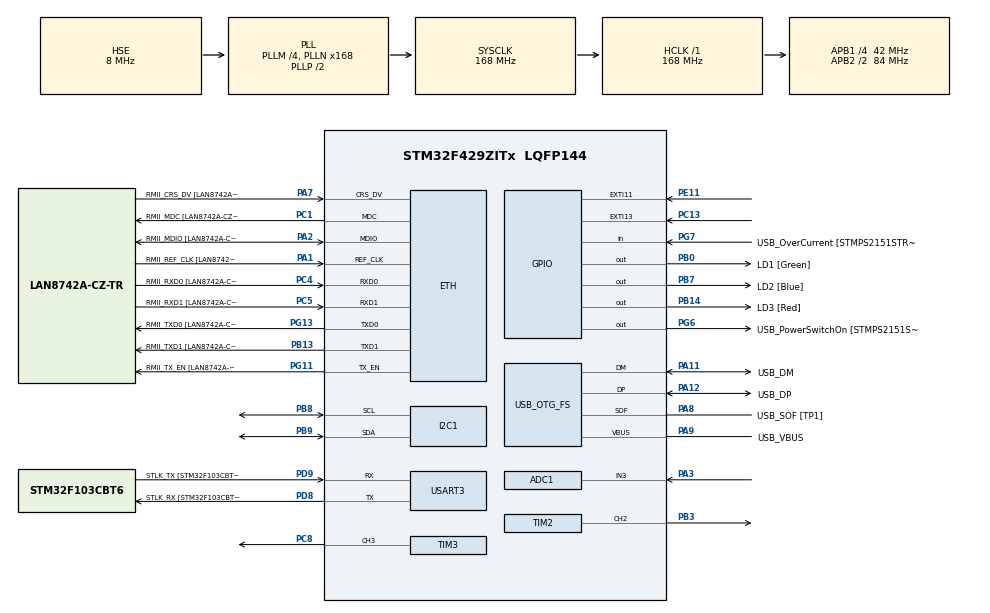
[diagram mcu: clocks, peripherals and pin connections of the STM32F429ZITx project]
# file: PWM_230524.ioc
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ADC1.Channel-0\#ChannelRegularConversion=ADC_CHANNEL_3
ADC1.NbrOfConversionFlag=1
ADC1.Rank-0\#ChannelRegularConversion=1
ADC1.SamplingTime-0\#ChannelRegularConversion=ADC_SAMPLETIME_3CYCLES
ADC1.master=1
ETH.MediaInterface=HAL_ETH_RMII_MODE
ETH.PHY_Name=LAN8742A_PHY_ADDRESS
ETH.PHY_Value=0
ETH.PhyAddress=0
Mcu.Family=STM32F4
Mcu.Name=STM32F429ZITx
Mcu.Package=LQFP144
NVIC.EXTI15_10_IRQn=true\:0\:0\:false\:true\:true\:1\:true\:true\:true
NVIC.PriorityGroup=NVIC_PRIORITYGROUP_4
PA1.GPIO_Label=RMII_REF_CLK [LAN8742A-CZ-TR_REFCLK0]
PA1.Mode=RMII
PA1.Signal=ETH_REF_CLK
PA10.GPIO_Label=USB_ID
PA10.Signal=USB_OTG_FS_ID
PA11.GPIO_Label=USB_DM
PA11.Mode=Device_Only
PA11.Signal=USB_OTG_FS_DM
PA12.GPIO_Label=USB_DP
PA12.Mode=Device_Only
PA12.Signal=USB_OTG_FS_DP
PA13.GPIO_Label=TMS
PA13.Mode=Serial_Wire
PA13.Signal=SYS_JTMS-SWDIO
PA14.GPIO_Label=TCK
PA14.Mode=Serial_Wire
PA14.Signal=SYS_JTCK-SWCLK
PA2.GPIO_Label=RMII_MDIO [LAN8742A-CZ-TR_MDIO]
PA2.Mode=RMII
PA2.Signal=ETH_MDIO
PA3.Signal=ADCx_IN3
PA7.GPIO_Label=RMII_CRS_DV [LAN8742A-CZ-TR_CRS_DV]
PA7.Mode=RMII
PA7.Signal=ETH_CRS_DV
PA8.GPIO_Label=USB_SOF [TP1]
PA8.Mode=Activate_SOF_FS
PA8.Signal=USB_OTG_FS_SOF
PA9.GPIO_Label=USB_VBUS
PA9.Mode=Activate_VBUS
PA9.Signal=USB_OTG_FS_VBUS
PB0.GPIO_Label=LD1 [Green]
PB0.Signal=GPIO_Output
PB13.GPIO_Label=RMII_TXD1 [LAN8742A-CZ-TR_TXD1]
PB13.Mode=RMII
PB13.Signal=ETH_TXD1
PB14.GPIO_Label=LD3 [Red]
PB14.Signal=GPIO_Output
PB3.Signal=S_TIM2_CH2
PB7.GPIO_Label=LD2 [Blue]
PB7.Signal=GPIO_Output
PB8.Mode=I2C
PB8.Signal=I2C1_SCL
PB9.Mode=I2C
PB9.Signal=I2C1_SDA
PC1.GPIO_Label=RMII_MDC [LAN8742A-CZ-TR_MDC]
PC1.Mode=RMII
PC1.Signal=ETH_MDC
PC13.GPIO_PuPd=GPIO_NOPULL
PC13.Signal=GPXTI13
PC14/OSC32_IN.Mode=LSE-External-Oscillator
PC14/OSC32_IN.Signal=RCC_OSC32_IN
PC15/OSC32_OUT.Mode=LSE-External-Oscillator
PC15/OSC32_OUT.Signal=RCC_OSC32_OUT
PC4.GPIO_Label=RMII_RXD0 [LAN8742A-CZ-TR_RXD0]
PC4.Mode=RMII
PC4.Signal=ETH_RXD0
PC5.GPIO_Label=RMII_RXD1 [LAN8742A-CZ-TR_RXD1]
PC5.Mode=RMII
PC5.Signal=ETH_RXD1
PC8.Signal=S_TIM3_CH3
PD8.GPIO_Label=STLK_RX [STM32F103CBT6_PA3]
PD8.Mode=Asynchronous
PD8.Signal=USART3_TX
PD9.GPIO_Label=STLK_TX [STM32F103CBT6_PA2]
PD9.Mode=Asynchronous
PD9.Signal=USART3_RX
PE11.GPIO_PuPd=GPIO_PULLUP
PE11.Signal=GPXTI11
PG11.GPIO_Label=RMII_TX_EN [LAN8742A-CZ-TR_TXEN]
PG11.Mode=RMII
PG11.Signal=ETH_TX_EN
PG13.GPIO_Label=RMII_TXD0 [LAN8742A-CZ-TR_TXD0]
PG13.Mode=RMII
PG13.Signal=ETH_TXD0
PG6.GPIO_Label=USB_PowerSwitchOn [STMPS2151STR_EN]
PG6.Signal=GPIO_Output
PG7.GPIO_Label=USB_OverCurrent [STMPS2151STR_FAULT]
PG7.Signal=GPIO_Input
PH0/OSC_IN.GPIO_Label=MCO [STM32F103CBT6_PA8]
PH0/OSC_IN.Mode=HSE-External-Clock-Source
PH0/OSC_IN.Signal=RCC_OSC_IN
PH1/OSC_OUT.Mode=HSE-External-Clock-Source
PH1/OSC_OUT.Signal=RCC_OSC_OUT
ProjectManager.HeapSize=0x200
ProjectManager.StackSize=0x400
ProjectManager.TargetToolchain=STM32CubeIDE
RCC.48MHZClocksFreq_Value=48000000
RCC.AHBFreq_Value=168000000
RCC.APB1CLKDivider=RCC_HCLK_DIV4
RCC.APB1Freq_Value=42000000
RCC.APB1TimFreq_Value=84000000
RCC.APB2CLKDivider=RCC_HCLK_DIV2
RCC.APB2Freq_Value=84000000
RCC.APB2TimCLKDivider=2
RCC.APB2TimFreq_Value=168000000
RCC.CortexFreq_Value=168000000
RCC.HCLKFreq_Value=168000000
RCC.HSE_VALUE=8000000
RCC.HSI_VALUE=16000000
RCC.PLLM=4
RCC.PLLMUL=RCC_PLL_MUL9
RCC.PLLN=168
RCC.PLLQ=7
RCC.PRESCALERUSB=RCC_USBCLKSOURCE_PLL_DIV1_5
RCC.SYSCLKFreq_VALUE=168000000
RCC.SYSCLKSource=RCC_SYSCLKSOURCE_PLLCLK
RCC.SYSCLKSourceVirtual=RCC_SYSCLKSOURCE_PLLCLK
RCC.USBFreq_Value=48000000
RCC.VCOOutputFreq_Value=336000000
SH.ADCx_IN3.0=ADC1_IN3,IN3
SH.S_TIM2_CH2.0=TIM2_CH2,PWM Generation2 CH2
SH.S_TIM3_CH3.0=TIM3_CH3,PWM Generation3 CH3
TIM2.Channel-PWM\ Generation2\ CH2=TIM_CHANNEL_2
TIM2.Period=200-1
TIM2.Prescaler=8400-1
TIM2.Pulse-PWM\ Generation2\ CH2=100-1
TIM3.Channel-PWM\ Generation3\ CH3=TIM_CHANNEL_3
TIM3.Period=100-1
TIM3.Prescaler=8400-1
TIM3.Pulse-PWM\ Generation3\ CH3=50-1
USART3.VirtualMode=VM_ASYNC
USB_OTG_FS.VirtualMode=Device_Only
VP_TIM2_VS_ClockSourceINT.Mode=Internal
VP_TIM3_VS_ClockSourceINT.Mode=Internal
board=NUCLEO-F429ZI

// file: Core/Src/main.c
/* USER CODE BEGIN Header */
/**
  ******************************************************************************
  * @file           : main.c
  * @brief          : Main program body
  ******************************************************************************
  * @attention
  *
  * Copyright (c) 2023 STMicroelectronics.
  * All rights reserved.
  *
  * This software is licensed under terms that can be found in the LICENSE file
  * in the root directory of this software component.
  * If no LICENSE file comes with this software, it is provided AS-IS.
  *
  ******************************************************************************
  */
/* USER CODE END Header */
#include "main.h"
#include "string.h"

/* USER CODE BEGIN Includes */
#include "stdio.h"
#define LCD_ADDR (0x27 << 1)
/* USER CODE END Includes */

ETH_TxPacketConfig TxConfig;
ETH_DMADescTypeDef  DMARxDscrTab[ETH_RX_DESC_CNT]; /* Ethernet Rx DMA Descriptors */
ETH_DMADescTypeDef  DMATxDscrTab[ETH_TX_DESC_CNT]; /* Ethernet Tx DMA Descriptors */

ADC_HandleTypeDef hadc1;

ETH_HandleTypeDef heth;

I2C_HandleTypeDef hi2c1;

TIM_HandleTypeDef htim2;
TIM_HandleTypeDef htim3;

UART_HandleTypeDef huart3;

PCD_HandleTypeDef hpcd_USB_OTG_FS;

/* USER CODE BEGIN PV */
int motor = 15;
/* USER CODE END PV */

void SystemClock_Config(void);
static void MX_GPIO_Init(void);
static void MX_ETH_Init(void);
static void MX_USART3_UART_Init(void);
static void MX_USB_OTG_FS_PCD_Init(void);
static void MX_TIM3_Init(void);
static void MX_ADC1_Init(void);
static void MX_TIM2_Init(void);
static void MX_I2C1_Init(void);
static void MX_NVIC_Init(void);
/* USER CODE BEGIN PFP */
void LCD_SendCommand(uint8_t lcd_addr, uint8_t command);
void LCD_SendData(uint8_t lcd_addr, uint8_t data);

//int _write(int fd, char *ptr, int len){
//	HAL_UART_Transmit(&huart3, (unsigned char*)ptr, len, HAL_MAX_DELAY);
//	return len;
//}
//
//int _read(int file, char *ptr, int len){
//	HAL_UART_Receive(&huart3, (unsigned char*)ptr, len, HAL_MAX_DELAY);
//	return len;
//}
/* USER CODE END PFP */

/* USER CODE BEGIN 0 */
extern void I2C_Scan(void);
void init();
/* USER CODE END 0 */

int main(void) {

	/* MCU Configuration--------------------------------------------------------*/

	/* Reset of all peripherals, Initializes the Flash interface and the Systick. */
	HAL_Init();

	/* Configure the system clock */
	SystemClock_Config();

	/* Initialize all configured peripherals */
	MX_GPIO_Init();
	MX_ETH_Init();
	MX_USART3_UART_Init();
	MX_USB_OTG_FS_PCD_Init();
	MX_TIM3_Init();
	MX_ADC1_Init();
	MX_TIM2_Init();
	MX_I2C1_Init();

	/* Initialize interrupts */
	MX_NVIC_Init();
	/* USER CODE BEGIN 2 */
	HAL_TIM_PWM_Start(&htim2, TIM_CHANNEL_2);
	HAL_TIM_PWM_Start(&htim3, TIM_CHANNEL_3);

	setvbuf(stdin, NULL, _IONBF, 0);
	setvbuf(stdout, NULL, _IONBF, 0);
	I2C_Scan();
	LCD_Init(LCD_ADDR);

	int adc_value;
	char uart_buf[30];
	int ledtest = 0;
	char ccr2_value[10];
	char ccr3_value[10];

	/* USER CODE END 2 */

	/* Infinite loop */
	while (1) {

		/* USER CODE BEGIN 3 */
		HAL_ADC_Start(&hadc1);
		HAL_ADC_PollForConversion(&hadc1, 10);
		adc_value = HAL_ADC_GetValue(&hadc1);
		HAL_ADC_Stop(&hadc1);
		memset(uart_buf, 0, sizeof(uart_buf));
		sprintf(uart_buf, "ADC Value : %d \r\n", adc_value);
		HAL_UART_Transmit(&huart3, (uint8_t*) uart_buf, sizeof(uart_buf), 1000);

		TIM3->CCR3 = (adc_value * 100) / 4095;
		TIM2->CCR2 = motor;

		sprintf(ccr2_value, "CCR2 : %03d", TIM2->CCR2);
		sprintf(ccr3_value, "CCR3 : %03d", TIM3->CCR3);

		// Send CCR2 value via UART
		memset(uart_buf, 0, sizeof(uart_buf));

		sprintf(uart_buf, "%s \r\n", ccr2_value);
		HAL_UART_Transmit(&huart3, (uint8_t*) uart_buf, strlen(uart_buf), 1000);

		// Send CCR3 value via UART
		memset(uart_buf, 0, sizeof(uart_buf));
		sprintf(uart_buf, "%s \r\n", ccr3_value);
		HAL_UART_Transmit(&huart3, (uint8_t*) uart_buf, strlen(uart_buf), 1000);

		// set address to 0x00
		LCD_SendCommand(LCD_ADDR, 0b10000000);
		LCD_SendString(LCD_ADDR, ccr2_value);
//		LCD_SendCommand(LCD_ADDR, 0b10000000 | 0x05);
//		LCD_SendString(LCD_ADDR, ccr2_value);

// set address to 0x40
		LCD_SendCommand(LCD_ADDR, 0b11000000);
		LCD_SendString(LCD_ADDR, ccr3_value);

	}
	/* USER CODE END 3 */
}

void SystemClock_Config(void)
{
  RCC_OscInitTypeDef RCC_OscInitStruct = {0};
  RCC_ClkInitTypeDef RCC_ClkInitStruct = {0};

  /** Configure the main internal regulator output voltage
  */
  __HAL_RCC_PWR_CLK_ENABLE();
  __HAL_PWR_VOLTAGESCALING_CONFIG(PWR_REGULATOR_VOLTAGE_SCALE1);

  /** Initializes the RCC Oscillators according to the specified parameters
  * in the RCC_OscInitTypeDef structure.
  */
  RCC_OscInitStruct.OscillatorType = RCC_OSCILLATORTYPE_HSE;
  RCC_OscInitStruct.HSEState = RCC_HSE_BYPASS;
  RCC_OscInitStruct.PLL.PLLState = RCC_PLL_ON;
  RCC_OscInitStruct.PLL.PLLSource = RCC_PLLSOURCE_HSE;
  RCC_OscInitStruct.PLL.PLLM = 4;
  RCC_OscInitStruct.PLL.PLLN = 168;
  RCC_OscInitStruct.PLL.PLLP = RCC_PLLP_DIV2;
  RCC_OscInitStruct.PLL.PLLQ = 7;
  if (HAL_RCC_OscConfig(&RCC_OscInitStruct) != HAL_OK)
  {
    Error_Handler();
  }

  /** Initializes the CPU, AHB and APB buses clocks
  */
  RCC_ClkInitStruct.ClockType = RCC_CLOCKTYPE_HCLK|RCC_CLOCKTYPE_SYSCLK
                              |RCC_CLOCKTYPE_PCLK1|RCC_CLOCKTYPE_PCLK2;
  RCC_ClkInitStruct.SYSCLKSource = RCC_SYSCLKSOURCE_PLLCLK;
  RCC_ClkInitStruct.AHBCLKDivider = RCC_SYSCLK_DIV1;
  RCC_ClkInitStruct.APB1CLKDivider = RCC_HCLK_DIV4;
  RCC_ClkInitStruct.APB2CLKDivider = RCC_HCLK_DIV2;

  if (HAL_RCC_ClockConfig(&RCC_ClkInitStruct, FLASH_LATENCY_5) != HAL_OK)
  {
    Error_Handler();
  }
}

/**
  * @brief NVIC Configuration.
  * @retval None
  */
static void MX_NVIC_Init(void)
{
  /* EXTI15_10_IRQn interrupt configuration */
  HAL_NVIC_SetPriority(EXTI15_10_IRQn, 0, 0);
  HAL_NVIC_EnableIRQ(EXTI15_10_IRQn);
}

static void MX_ADC1_Init(void)
{

  ADC_ChannelConfTypeDef sConfig = {0};

  /** Configure the global features of the ADC (Clock, Resolution, Data Alignment and number of conversion)
  */
  hadc1.Instance = ADC1;
  hadc1.Init.ClockPrescaler = ADC_CLOCK_SYNC_PCLK_DIV4;
  hadc1.Init.Resolution = ADC_RESOLUTION_12B;
  hadc1.Init.ScanConvMode = DISABLE;
  hadc1.Init.ContinuousConvMode = DISABLE;
  hadc1.Init.DiscontinuousConvMode = DISABLE;
  hadc1.Init.ExternalTrigConvEdge = ADC_EXTERNALTRIGCONVEDGE_NONE;
  hadc1.Init.ExternalTrigConv = ADC_SOFTWARE_START;
  hadc1.Init.DataAlign = ADC_DATAALIGN_RIGHT;
  hadc1.Init.NbrOfConversion = 1;
  hadc1.Init.DMAContinuousRequests = DISABLE;
  hadc1.Init.EOCSelection = ADC_EOC_SINGLE_CONV;
  if (HAL_ADC_Init(&hadc1) != HAL_OK)
  {
    Error_Handler();
  }

  /** Configure for the selected ADC regular channel its corresponding rank in the sequencer and its sample time.
  */
  sConfig.Channel = ADC_CHANNEL_3;
  sConfig.Rank = 1;
  sConfig.SamplingTime = ADC_SAMPLETIME_3CYCLES;
  if (HAL_ADC_ConfigChannel(&hadc1, &sConfig) != HAL_OK)
  {
    Error_Handler();
  }

}

static void MX_ETH_Init(void)
{

   static uint8_t MACAddr[6];

  heth.Instance = ETH;
  MACAddr[0] = 0x00;
  MACAddr[1] = 0x80;
  MACAddr[2] = 0xE1;
  MACAddr[3] = 0x00;
  MACAddr[4] = 0x00;
  MACAddr[5] = 0x00;
  heth.Init.MACAddr = &MACAddr[0];
  heth.Init.MediaInterface = HAL_ETH_RMII_MODE;
  heth.Init.TxDesc = DMATxDscrTab;
  heth.Init.RxDesc = DMARxDscrTab;
  heth.Init.RxBuffLen = 1524;

  if (HAL_ETH_Init(&heth) != HAL_OK)
  {
    Error_Handler();
  }

  memset(&TxConfig, 0 , sizeof(ETH_TxPacketConfig));
  TxConfig.Attributes = ETH_TX_PACKETS_FEATURES_CSUM | ETH_TX_PACKETS_FEATURES_CRCPAD;
  TxConfig.ChecksumCtrl = ETH_CHECKSUM_IPHDR_PAYLOAD_INSERT_PHDR_CALC;
  TxConfig.CRCPadCtrl = ETH_CRC_PAD_INSERT;

}

static void MX_I2C1_Init(void)
{

  hi2c1.Instance = I2C1;
  hi2c1.Init.ClockSpeed = 100000;
  hi2c1.Init.DutyCycle = I2C_DUTYCYCLE_2;
  hi2c1.Init.OwnAddress1 = 0;
  hi2c1.Init.AddressingMode = I2C_ADDRESSINGMODE_7BIT;
  hi2c1.Init.DualAddressMode = I2C_DUALADDRESS_DISABLE;
  hi2c1.Init.OwnAddress2 = 0;
  hi2c1.Init.GeneralCallMode = I2C_GENERALCALL_DISABLE;
  hi2c1.Init.NoStretchMode = I2C_NOSTRETCH_DISABLE;
  if (HAL_I2C_Init(&hi2c1) != HAL_OK)
  {
    Error_Handler();
  }

  /** Configure Analogue filter
  */
  if (HAL_I2CEx_ConfigAnalogFilter(&hi2c1, I2C_ANALOGFILTER_ENABLE) != HAL_OK)
  {
    Error_Handler();
  }

  /** Configure Digital filter
  */
  if (HAL_I2CEx_ConfigDigitalFilter(&hi2c1, 0) != HAL_OK)
  {
    Error_Handler();
  }

}

static void MX_TIM2_Init(void)
{

  TIM_ClockConfigTypeDef sClockSourceConfig = {0};
  TIM_MasterConfigTypeDef sMasterConfig = {0};
  TIM_OC_InitTypeDef sConfigOC = {0};

  htim2.Instance = TIM2;
  htim2.Init.Prescaler = 8400-1;
  htim2.Init.CounterMode = TIM_COUNTERMODE_UP;
  htim2.Init.Period = 200-1;
  htim2.Init.ClockDivision = TIM_CLOCKDIVISION_DIV1;
  htim2.Init.AutoReloadPreload = TIM_AUTORELOAD_PRELOAD_DISABLE;
  if (HAL_TIM_Base_Init(&htim2) != HAL_OK)
  {
    Error_Handler();
  }
  sClockSourceConfig.ClockSource = TIM_CLOCKSOURCE_INTERNAL;
  if (HAL_TIM_ConfigClockSource(&htim2, &sClockSourceConfig) != HAL_OK)
  {
    Error_Handler();
  }
  if (HAL_TIM_PWM_Init(&htim2) != HAL_OK)
  {
    Error_Handler();
  }
  sMasterConfig.MasterOutputTrigger = TIM_TRGO_RESET;
  sMasterConfig.MasterSlaveMode = TIM_MASTERSLAVEMODE_DISABLE;
  if (HAL_TIMEx_MasterConfigSynchronization(&htim2, &sMasterConfig) != HAL_OK)
  {
    Error_Handler();
  }
  sConfigOC.OCMode = TIM_OCMODE_PWM1;
  sConfigOC.Pulse = 100-1;
  sConfigOC.OCPolarity = TIM_OCPOLARITY_HIGH;
  sConfigOC.OCFastMode = TIM_OCFAST_DISABLE;
  if (HAL_TIM_PWM_ConfigChannel(&htim2, &sConfigOC, TIM_CHANNEL_2) != HAL_OK)
  {
    Error_Handler();
  }
  HAL_TIM_MspPostInit(&htim2);

}

static void MX_TIM3_Init(void)
{

  TIM_ClockConfigTypeDef sClockSourceConfig = {0};
  TIM_MasterConfigTypeDef sMasterConfig = {0};
  TIM_OC_InitTypeDef sConfigOC = {0};

  htim3.Instance = TIM3;
  htim3.Init.Prescaler = 8400-1;
  htim3.Init.CounterMode = TIM_COUNTERMODE_UP;
  htim3.Init.Period = 100-1;
  htim3.Init.ClockDivision = TIM_CLOCKDIVISION_DIV1;
  htim3.Init.AutoReloadPreload = TIM_AUTORELOAD_PRELOAD_DISABLE;
  if (HAL_TIM_Base_Init(&htim3) != HAL_OK)
  {
    Error_Handler();
  }
  sClockSourceConfig.ClockSource = TIM_CLOCKSOURCE_INTERNAL;
  if (HAL_TIM_ConfigClockSource(&htim3, &sClockSourceConfig) != HAL_OK)
  {
    Error_Handler();
  }
  if (HAL_TIM_PWM_Init(&htim3) != HAL_OK)
  {
    Error_Handler();
  }
  sMasterConfig.MasterOutputTrigger = TIM_TRGO_RESET;
  sMasterConfig.MasterSlaveMode = TIM_MASTERSLAVEMODE_DISABLE;
  if (HAL_TIMEx_MasterConfigSynchronization(&htim3, &sMasterConfig) != HAL_OK)
  {
    Error_Handler();
  }
  sConfigOC.OCMode = TIM_OCMODE_PWM1;
  sConfigOC.Pulse = 50-1;
  sConfigOC.OCPolarity = TIM_OCPOLARITY_HIGH;
  sConfigOC.OCFastMode = TIM_OCFAST_DISABLE;
  if (HAL_TIM_PWM_ConfigChannel(&htim3, &sConfigOC, TIM_CHANNEL_3) != HAL_OK)
  {
    Error_Handler();
  }
  HAL_TIM_MspPostInit(&htim3);

}

static void MX_USART3_UART_Init(void)
{

  huart3.Instance = USART3;
  huart3.Init.BaudRate = 115200;
  huart3.Init.WordLength = UART_WORDLENGTH_8B;
  huart3.Init.StopBits = UART_STOPBITS_1;
  huart3.Init.Parity = UART_PARITY_NONE;
  huart3.Init.Mode = UART_MODE_TX_RX;
  huart3.Init.HwFlowCtl = UART_HWCONTROL_NONE;
  huart3.Init.OverSampling = UART_OVERSAMPLING_16;
  if (HAL_UART_Init(&huart3) != HAL_OK)
  {
    Error_Handler();
  }

}

static void MX_USB_OTG_FS_PCD_Init(void)
{

  hpcd_USB_OTG_FS.Instance = USB_OTG_FS;
  hpcd_USB_OTG_FS.Init.dev_endpoints = 4;
  hpcd_USB_OTG_FS.Init.speed = PCD_SPEED_FULL;
  hpcd_USB_OTG_FS.Init.dma_enable = DISABLE;
  hpcd_USB_OTG_FS.Init.phy_itface = PCD_PHY_EMBEDDED;
  hpcd_USB_OTG_FS.Init.Sof_enable = ENABLE;
  hpcd_USB_OTG_FS.Init.low_power_enable = DISABLE;
  hpcd_USB_OTG_FS.Init.lpm_enable = DISABLE;
  hpcd_USB_OTG_FS.Init.vbus_sensing_enable = ENABLE;
  hpcd_USB_OTG_FS.Init.use_dedicated_ep1 = DISABLE;
  if (HAL_PCD_Init(&hpcd_USB_OTG_FS) != HAL_OK)
  {
    Error_Handler();
  }

}

static void MX_GPIO_Init(void)
{
  GPIO_InitTypeDef GPIO_InitStruct = {0};

  /* GPIO Ports Clock Enable */
  __HAL_RCC_GPIOC_CLK_ENABLE();
  __HAL_RCC_GPIOH_CLK_ENABLE();
  __HAL_RCC_GPIOA_CLK_ENABLE();
  __HAL_RCC_GPIOB_CLK_ENABLE();
  __HAL_RCC_GPIOE_CLK_ENABLE();
  __HAL_RCC_GPIOD_CLK_ENABLE();
  __HAL_RCC_GPIOG_CLK_ENABLE();

  /*Configure GPIO pin Output Level */
  HAL_GPIO_WritePin(GPIOB, LD1_Pin|LD3_Pin|LD2_Pin, GPIO_PIN_RESET);

  /*Configure GPIO pin Output Level */
  HAL_GPIO_WritePin(USB_PowerSwitchOn_GPIO_Port, USB_PowerSwitchOn_Pin, GPIO_PIN_RESET);

  /*Configure GPIO pin : PC13 */
  GPIO_InitStruct.Pin = GPIO_PIN_13;
  GPIO_InitStruct.Mode = GPIO_MODE_IT_RISING;
  GPIO_InitStruct.Pull = GPIO_NOPULL;
  HAL_GPIO_Init(GPIOC, &GPIO_InitStruct);

  /*Configure GPIO pins : LD1_Pin LD3_Pin LD2_Pin */
  GPIO_InitStruct.Pin = LD1_Pin|LD3_Pin|LD2_Pin;
  GPIO_InitStruct.Mode = GPIO_MODE_OUTPUT_PP;
  GPIO_InitStruct.Pull = GPIO_NOPULL;
  GPIO_InitStruct.Speed = GPIO_SPEED_FREQ_LOW;
  HAL_GPIO_Init(GPIOB, &GPIO_InitStruct);

  /*Configure GPIO pin : PE11 */
  GPIO_InitStruct.Pin = GPIO_PIN_11;
  GPIO_InitStruct.Mode = GPIO_MODE_IT_RISING;
  GPIO_InitStruct.Pull = GPIO_PULLUP;
  HAL_GPIO_Init(GPIOE, &GPIO_InitStruct);

  /*Configure GPIO pin : USB_PowerSwitchOn_Pin */
  GPIO_InitStruct.Pin = USB_PowerSwitchOn_Pin;
  GPIO_InitStruct.Mode = GPIO_MODE_OUTPUT_PP;
  GPIO_InitStruct.Pull = GPIO_NOPULL;
  GPIO_InitStruct.Speed = GPIO_SPEED_FREQ_LOW;
  HAL_GPIO_Init(USB_PowerSwitchOn_GPIO_Port, &GPIO_InitStruct);

  /*Configure GPIO pin : USB_OverCurrent_Pin */
  GPIO_InitStruct.Pin = USB_OverCurrent_Pin;
  GPIO_InitStruct.Mode = GPIO_MODE_INPUT;
  GPIO_InitStruct.Pull = GPIO_NOPULL;
  HAL_GPIO_Init(USB_OverCurrent_GPIO_Port, &GPIO_InitStruct);

}

/* USER CODE BEGIN 4 */
void HAL_GPIO_EXTI_Callback(uint16_t GPIO_Pin)
{
  if(GPIO_Pin == GPIO_PIN_13){
	  if(motor>5) --motor;
  }
  if(GPIO_Pin == GPIO_PIN_11){
	  if(motor<25) ++motor;
  }
}
/* USER CODE END 4 */

void Error_Handler(void)
{
  __disable_irq();
  while (1)
  {
  }
}
